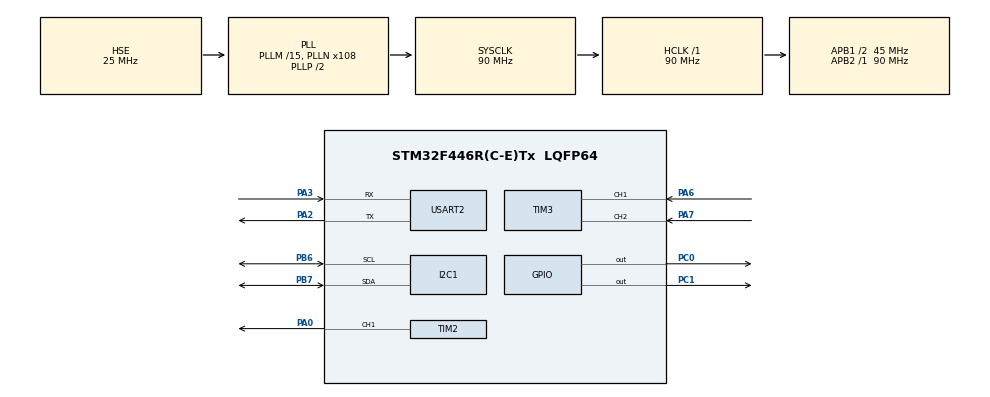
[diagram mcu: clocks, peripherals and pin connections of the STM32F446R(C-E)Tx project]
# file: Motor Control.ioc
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Dma.Request0=USART2_RX
Dma.Request1=USART2_TX
Dma.USART2_RX.0.Direction=DMA_PERIPH_TO_MEMORY
Dma.USART2_RX.0.FIFOMode=DMA_FIFOMODE_DISABLE
Dma.USART2_RX.0.Instance=DMA1_Stream5
Dma.USART2_RX.0.MemDataAlignment=DMA_MDATAALIGN_BYTE
Dma.USART2_RX.0.MemInc=DMA_MINC_ENABLE
Dma.USART2_RX.0.Mode=DMA_NORMAL
Dma.USART2_RX.0.PeriphDataAlignment=DMA_PDATAALIGN_BYTE
Dma.USART2_RX.0.PeriphInc=DMA_PINC_DISABLE
Dma.USART2_RX.0.Priority=DMA_PRIORITY_LOW
Dma.USART2_TX.1.Direction=DMA_MEMORY_TO_PERIPH
Dma.USART2_TX.1.FIFOMode=DMA_FIFOMODE_DISABLE
Dma.USART2_TX.1.Instance=DMA1_Stream6
Dma.USART2_TX.1.MemDataAlignment=DMA_MDATAALIGN_BYTE
Dma.USART2_TX.1.MemInc=DMA_MINC_ENABLE
Dma.USART2_TX.1.Mode=DMA_NORMAL
Dma.USART2_TX.1.PeriphDataAlignment=DMA_PDATAALIGN_BYTE
Dma.USART2_TX.1.PeriphInc=DMA_PINC_DISABLE
Dma.USART2_TX.1.Priority=DMA_PRIORITY_LOW
I2C1.I2C_Mode=I2C_Fast
Mcu.Family=STM32F4
Mcu.Name=STM32F446R(C-E)Tx
Mcu.Package=LQFP64
NVIC.DMA1_Stream5_IRQn=true\:0\:0\:false\:false\:true\:false\:true\:true
NVIC.DMA1_Stream6_IRQn=true\:0\:0\:false\:false\:true\:false\:true\:true
NVIC.PriorityGroup=NVIC_PRIORITYGROUP_4
NVIC.TIM4_IRQn=true\:0\:0\:false\:false\:true\:true\:true\:true
NVIC.USART2_IRQn=true\:0\:0\:false\:false\:true\:true\:true\:true
PA0-WKUP.Signal=S_TIM2_CH1_ETR
PA13.Mode=Serial_Wire
PA13.Signal=SYS_JTMS-SWDIO
PA14.Mode=Serial_Wire
PA14.Signal=SYS_JTCK-SWCLK
PA2.Mode=Asynchronous
PA2.Signal=USART2_TX
PA3.Mode=Asynchronous
PA3.Signal=USART2_RX
PA6.Signal=S_TIM3_CH1
PA7.Signal=S_TIM3_CH2
PB6.Mode=I2C
PB6.Signal=I2C1_SCL
PB7.Mode=I2C
PB7.Signal=I2C1_SDA
PC0.Signal=GPIO_Output
PC1.Signal=GPIO_Output
PH0-OSC_IN.Mode=HSE-External-Oscillator
PH0-OSC_IN.Signal=RCC_OSC_IN
PH1-OSC_OUT.Mode=HSE-External-Oscillator
PH1-OSC_OUT.Signal=RCC_OSC_OUT
ProjectManager.HeapSize=0x200
ProjectManager.StackSize=0x400
ProjectManager.TargetToolchain=STM32CubeIDE
RCC.AHBFreq_Value=90000000
RCC.APB1CLKDivider=RCC_HCLK_DIV2
RCC.APB1Freq_Value=45000000
RCC.APB1TimFreq_Value=90000000
RCC.APB2Freq_Value=90000000
RCC.APB2TimFreq_Value=90000000
RCC.CortexFreq_Value=90000000
RCC.HCLKFreq_Value=90000000
RCC.PLLM=15
RCC.PLLN=108
RCC.PLLSourceVirtual=RCC_PLLSOURCE_HSE
RCC.SYSCLKFreq_VALUE=90000000
RCC.SYSCLKSource=RCC_SYSCLKSOURCE_PLLCLK
RCC.USBFreq_Value=90000000
RCC.VCOOutputFreq_Value=180000000
SH.S_TIM2_CH1_ETR.0=TIM2_CH1,PWM Generation1 CH1
SH.S_TIM3_CH1.0=TIM3_CH1,Encoder_Interface
SH.S_TIM3_CH2.0=TIM3_CH2,Encoder_Interface
TIM2.Channel-PWM\ Generation1\ CH1=TIM_CHANNEL_1
TIM2.Period=10000
TIM4.Period=1000-1
TIM4.Prescaler=90-1
USART2.VirtualMode=VM_ASYNC
VP_TIM2_VS_ClockSourceINT.Mode=Internal
VP_TIM4_VS_ClockSourceINT.Mode=Internal
board=custom

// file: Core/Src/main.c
/* USER CODE BEGIN Header */
/**
  ******************************************************************************
  * @file           : main.c
  * @brief          : Main program body
  ******************************************************************************
  * @attention
  *
  * Copyright (c) 2024 STMicroelectronics.
  * All rights reserved.
  *
  * This software is licensed under terms that can be found in the LICENSE file
  * in the root directory of this software component.
  * If no LICENSE file comes with this software, it is provided AS-IS.
  *
  ******************************************************************************
  */
/* USER CODE END Header */
#include "main.h"

/* USER CODE BEGIN Includes */
#include <stdio.h>
#include <math.h>
#include "motor.h"
#include "encoder.h"
#include "pid.h"
#include "oled.h"
#include "font.h"
#include "buffer.h"
#include <string.h>
/* USER CODE END Includes */

/* USER CODE BEGIN PD */
#define KP 1.1
#define KI .0005
#define KD 35.0
#define MTR_INIT_POS 0.0
/* USER CODE END PD */

I2C_HandleTypeDef hi2c1;

TIM_HandleTypeDef htim2;
TIM_HandleTypeDef htim3;
TIM_HandleTypeDef htim4;

UART_HandleTypeDef huart2;
DMA_HandleTypeDef hdma_usart2_rx;
DMA_HandleTypeDef hdma_usart2_tx;

/* USER CODE BEGIN PV */
float TARGET_POS = M_PI;
int routine;
Encoder *e;
PID *u;
float time;
uint16_t cnt;
float pos, vel, tau;
char message[100];
char mes_i2c[100];
/* USER CODE END PV */

void SystemClock_Config(void);
static void MX_GPIO_Init(void);
static void MX_DMA_Init(void);
static void MX_TIM2_Init(void);
static void MX_TIM3_Init(void);
static void MX_TIM4_Init(void);
static void MX_USART2_UART_Init(void);
static void MX_I2C1_Init(void);

/* USER CODE BEGIN 0 */
void ctrl_loop(void)
{
	time = routine++ * SAMP_TIME;
	cnt = __HAL_TIM_GET_COUNTER(&htim3);
	pos = ENC_pos(e, cnt) + MTR_INIT_POS;
	vel = ENC_vel(e, pos);
	pid_control(u, pos, &tau);
	motor_pwm(tau);
//	send_Data(time, pos, vel, tau);
	sprintf(message, "%.3f, %.3f, %.3f, %.3f\r\n", time, pos, vel, tau);
	HAL_UART_Transmit_DMA(&huart2, (uint8_t *)message, strlen((char *)message));
}
void HAL_TIM_PeriodElapsedCallback(TIM_HandleTypeDef *htim)
{
	if (htim == &htim4)
	{
		ctrl_loop();
	}
}
/* USER CODE END 0 */

int main(void)
{

  /* MCU Configuration--------------------------------------------------------*/

  /* Reset of all peripherals, Initializes the Flash interface and the Systick. */
  HAL_Init();

  /* USER CODE BEGIN Init */
  motor_init();
  /* USER CODE END Init */

  /* Configure the system clock */
  SystemClock_Config();

  /* Initialize all configured peripherals */
  MX_GPIO_Init();
  MX_DMA_Init();
  MX_TIM2_Init();
  MX_TIM3_Init();
  MX_TIM4_Init();
  MX_USART2_UART_Init();
  MX_I2C1_Init();
  /* USER CODE BEGIN 2 */
//  HAL_UART_Transmit_DMA(&huart2, (uint8_t *)msg, strlen((char *)msg));
  HAL_Delay(20);
  OLED_Init();
  HAL_TIM_PWM_Start(&htim2, TIM_CHANNEL_1);
  HAL_TIM_Encoder_Start(&htim3, TIM_CHANNEL_ALL);
  HAL_TIM_Base_Start_IT(&htim4);
  e = &( (Encoder){
	  .pre_pos = 0,
	  .MTR_PPR = PPR,
	  .pre_cnt = 0
  });
  u = &( (PID) {
		.Kp = KP,
		.Ki = KI,
		.Kd = KD,
		.err_pre = 0.0,
		.P_term = 0.0,
		.I_term = 0.0,
		.D_term = 0.0,
		.max_PID = MTR_MAX,
		.min_PID = MTR_MIN,
		.max_Integral = MTR_MAX / 2.0
    });

  /* USER CODE END 2 */

  /* Infinite loop */
  while (1)
  {

    /* USER CODE BEGIN 3 */

		OLED_NewFrame();
		sprintf(mes_i2c, "位置%.3f(rad)", pos);
		OLED_PrintString(0, 0, mes_i2c, &font16x16, OLED_COLOR_NORMAL);
		sprintf(mes_i2c, "速度%.3f(rad/s)", vel);
		OLED_PrintString(0, 20, mes_i2c, &font16x16, OLED_COLOR_NORMAL);
		sprintf(mes_i2c, "輸出%.3f", tau);
		OLED_PrintString(0, 40, mes_i2c, &font16x16, OLED_COLOR_NORMAL);
		sprintf(mes_i2c, "(V)");
		OLED_PrintString(80, 40, mes_i2c, &font16x16, OLED_COLOR_NORMAL);
		OLED_ShowFrame();
		HAL_Delay(100);
  }
  /* USER CODE END 3 */
}

void SystemClock_Config(void)
{
  RCC_OscInitTypeDef RCC_OscInitStruct = {0};
  RCC_ClkInitTypeDef RCC_ClkInitStruct = {0};

  /** Configure the main internal regulator output voltage
  */
  __HAL_RCC_PWR_CLK_ENABLE();
  __HAL_PWR_VOLTAGESCALING_CONFIG(PWR_REGULATOR_VOLTAGE_SCALE3);

  /** Initializes the RCC Oscillators according to the specified parameters
  * in the RCC_OscInitTypeDef structure.
  */
  RCC_OscInitStruct.OscillatorType = RCC_OSCILLATORTYPE_HSE;
  RCC_OscInitStruct.HSEState = RCC_HSE_ON;
  RCC_OscInitStruct.PLL.PLLState = RCC_PLL_ON;
  RCC_OscInitStruct.PLL.PLLSource = RCC_PLLSOURCE_HSE;
  RCC_OscInitStruct.PLL.PLLM = 15;
  RCC_OscInitStruct.PLL.PLLN = 108;
  RCC_OscInitStruct.PLL.PLLP = RCC_PLLP_DIV2;
  RCC_OscInitStruct.PLL.PLLQ = 2;
  RCC_OscInitStruct.PLL.PLLR = 2;
  if (HAL_RCC_OscConfig(&RCC_OscInitStruct) != HAL_OK)
  {
    Error_Handler();
  }

  /** Initializes the CPU, AHB and APB buses clocks
  */
  RCC_ClkInitStruct.ClockType = RCC_CLOCKTYPE_HCLK|RCC_CLOCKTYPE_SYSCLK
                              |RCC_CLOCKTYPE_PCLK1|RCC_CLOCKTYPE_PCLK2;
  RCC_ClkInitStruct.SYSCLKSource = RCC_SYSCLKSOURCE_PLLCLK;
  RCC_ClkInitStruct.AHBCLKDivider = RCC_SYSCLK_DIV1;
  RCC_ClkInitStruct.APB1CLKDivider = RCC_HCLK_DIV2;
  RCC_ClkInitStruct.APB2CLKDivider = RCC_HCLK_DIV1;

  if (HAL_RCC_ClockConfig(&RCC_ClkInitStruct, FLASH_LATENCY_2) != HAL_OK)
  {
    Error_Handler();
  }
}

static void MX_I2C1_Init(void)
{

  hi2c1.Instance = I2C1;
  hi2c1.Init.ClockSpeed = 400000;
  hi2c1.Init.DutyCycle = I2C_DUTYCYCLE_2;
  hi2c1.Init.OwnAddress1 = 0;
  hi2c1.Init.AddressingMode = I2C_ADDRESSINGMODE_7BIT;
  hi2c1.Init.DualAddressMode = I2C_DUALADDRESS_DISABLE;
  hi2c1.Init.OwnAddress2 = 0;
  hi2c1.Init.GeneralCallMode = I2C_GENERALCALL_DISABLE;
  hi2c1.Init.NoStretchMode = I2C_NOSTRETCH_DISABLE;
  if (HAL_I2C_Init(&hi2c1) != HAL_OK)
  {
    Error_Handler();
  }

}

static void MX_TIM2_Init(void)
{

  TIM_ClockConfigTypeDef sClockSourceConfig = {0};
  TIM_MasterConfigTypeDef sMasterConfig = {0};
  TIM_OC_InitTypeDef sConfigOC = {0};

  htim2.Instance = TIM2;
  htim2.Init.Prescaler = 0;
  htim2.Init.CounterMode = TIM_COUNTERMODE_UP;
  htim2.Init.Period = 10000;
  htim2.Init.ClockDivision = TIM_CLOCKDIVISION_DIV1;
  htim2.Init.AutoReloadPreload = TIM_AUTORELOAD_PRELOAD_DISABLE;
  if (HAL_TIM_Base_Init(&htim2) != HAL_OK)
  {
    Error_Handler();
  }
  sClockSourceConfig.ClockSource = TIM_CLOCKSOURCE_INTERNAL;
  if (HAL_TIM_ConfigClockSource(&htim2, &sClockSourceConfig) != HAL_OK)
  {
    Error_Handler();
  }
  if (HAL_TIM_PWM_Init(&htim2) != HAL_OK)
  {
    Error_Handler();
  }
  sMasterConfig.MasterOutputTrigger = TIM_TRGO_RESET;
  sMasterConfig.MasterSlaveMode = TIM_MASTERSLAVEMODE_DISABLE;
  if (HAL_TIMEx_MasterConfigSynchronization(&htim2, &sMasterConfig) != HAL_OK)
  {
    Error_Handler();
  }
  sConfigOC.OCMode = TIM_OCMODE_PWM1;
  sConfigOC.Pulse = 0;
  sConfigOC.OCPolarity = TIM_OCPOLARITY_HIGH;
  sConfigOC.OCFastMode = TIM_OCFAST_DISABLE;
  if (HAL_TIM_PWM_ConfigChannel(&htim2, &sConfigOC, TIM_CHANNEL_1) != HAL_OK)
  {
    Error_Handler();
  }
  HAL_TIM_MspPostInit(&htim2);

}

static void MX_TIM3_Init(void)
{

  TIM_Encoder_InitTypeDef sConfig = {0};
  TIM_MasterConfigTypeDef sMasterConfig = {0};

  htim3.Instance = TIM3;
  htim3.Init.Prescaler = 0;
  htim3.Init.CounterMode = TIM_COUNTERMODE_UP;
  htim3.Init.Period = 65535;
  htim3.Init.ClockDivision = TIM_CLOCKDIVISION_DIV1;
  htim3.Init.AutoReloadPreload = TIM_AUTORELOAD_PRELOAD_DISABLE;
  sConfig.EncoderMode = TIM_ENCODERMODE_TI1;
  sConfig.IC1Polarity = TIM_ICPOLARITY_RISING;
  sConfig.IC1Selection = TIM_ICSELECTION_DIRECTTI;
  sConfig.IC1Prescaler = TIM_ICPSC_DIV1;
  sConfig.IC1Filter = 0;
  sConfig.IC2Polarity = TIM_ICPOLARITY_RISING;
  sConfig.IC2Selection = TIM_ICSELECTION_DIRECTTI;
  sConfig.IC2Prescaler = TIM_ICPSC_DIV1;
  sConfig.IC2Filter = 0;
  if (HAL_TIM_Encoder_Init(&htim3, &sConfig) != HAL_OK)
  {
    Error_Handler();
  }
  sMasterConfig.MasterOutputTrigger = TIM_TRGO_RESET;
  sMasterConfig.MasterSlaveMode = TIM_MASTERSLAVEMODE_DISABLE;
  if (HAL_TIMEx_MasterConfigSynchronization(&htim3, &sMasterConfig) != HAL_OK)
  {
    Error_Handler();
  }

}

static void MX_TIM4_Init(void)
{

  TIM_ClockConfigTypeDef sClockSourceConfig = {0};
  TIM_MasterConfigTypeDef sMasterConfig = {0};

  htim4.Instance = TIM4;
  htim4.Init.Prescaler = 90-1;
  htim4.Init.CounterMode = TIM_COUNTERMODE_UP;
  htim4.Init.Period = 1000-1;
  htim4.Init.ClockDivision = TIM_CLOCKDIVISION_DIV1;
  htim4.Init.AutoReloadPreload = TIM_AUTORELOAD_PRELOAD_DISABLE;
  if (HAL_TIM_Base_Init(&htim4) != HAL_OK)
  {
    Error_Handler();
  }
  sClockSourceConfig.ClockSource = TIM_CLOCKSOURCE_INTERNAL;
  if (HAL_TIM_ConfigClockSource(&htim4, &sClockSourceConfig) != HAL_OK)
  {
    Error_Handler();
  }
  sMasterConfig.MasterOutputTrigger = TIM_TRGO_RESET;
  sMasterConfig.MasterSlaveMode = TIM_MASTERSLAVEMODE_DISABLE;
  if (HAL_TIMEx_MasterConfigSynchronization(&htim4, &sMasterConfig) != HAL_OK)
  {
    Error_Handler();
  }

}

static void MX_USART2_UART_Init(void)
{

  huart2.Instance = USART2;
  huart2.Init.BaudRate = 115200;
  huart2.Init.WordLength = UART_WORDLENGTH_8B;
  huart2.Init.StopBits = UART_STOPBITS_1;
  huart2.Init.Parity = UART_PARITY_NONE;
  huart2.Init.Mode = UART_MODE_TX_RX;
  huart2.Init.HwFlowCtl = UART_HWCONTROL_NONE;
  huart2.Init.OverSampling = UART_OVERSAMPLING_16;
  if (HAL_UART_Init(&huart2) != HAL_OK)
  {
    Error_Handler();
  }

}

static void MX_DMA_Init(void)
{

  /* DMA controller clock enable */
  __HAL_RCC_DMA1_CLK_ENABLE();

  /* DMA interrupt init */
  /* DMA1_Stream5_IRQn interrupt configuration */
  HAL_NVIC_SetPriority(DMA1_Stream5_IRQn, 0, 0);
  HAL_NVIC_EnableIRQ(DMA1_Stream5_IRQn);
  /* DMA1_Stream6_IRQn interrupt configuration */
  HAL_NVIC_SetPriority(DMA1_Stream6_IRQn, 0, 0);
  HAL_NVIC_EnableIRQ(DMA1_Stream6_IRQn);

}

static void MX_GPIO_Init(void)
{
  GPIO_InitTypeDef GPIO_InitStruct = {0};

  /* GPIO Ports Clock Enable */
  __HAL_RCC_GPIOH_CLK_ENABLE();
  __HAL_RCC_GPIOC_CLK_ENABLE();
  __HAL_RCC_GPIOA_CLK_ENABLE();
  __HAL_RCC_GPIOB_CLK_ENABLE();

  /*Configure GPIO pin Output Level */
  HAL_GPIO_WritePin(GPIOC, GPIO_PIN_0|GPIO_PIN_1, GPIO_PIN_RESET);

  /*Configure GPIO pins : PC0 PC1 */
  GPIO_InitStruct.Pin = GPIO_PIN_0|GPIO_PIN_1;
  GPIO_InitStruct.Mode = GPIO_MODE_OUTPUT_PP;
  GPIO_InitStruct.Pull = GPIO_NOPULL;
  GPIO_InitStruct.Speed = GPIO_SPEED_FREQ_LOW;
  HAL_GPIO_Init(GPIOC, &GPIO_InitStruct);

}

void Error_Handler(void)
{
  __disable_irq();
  while (1)
  {
  }
}
